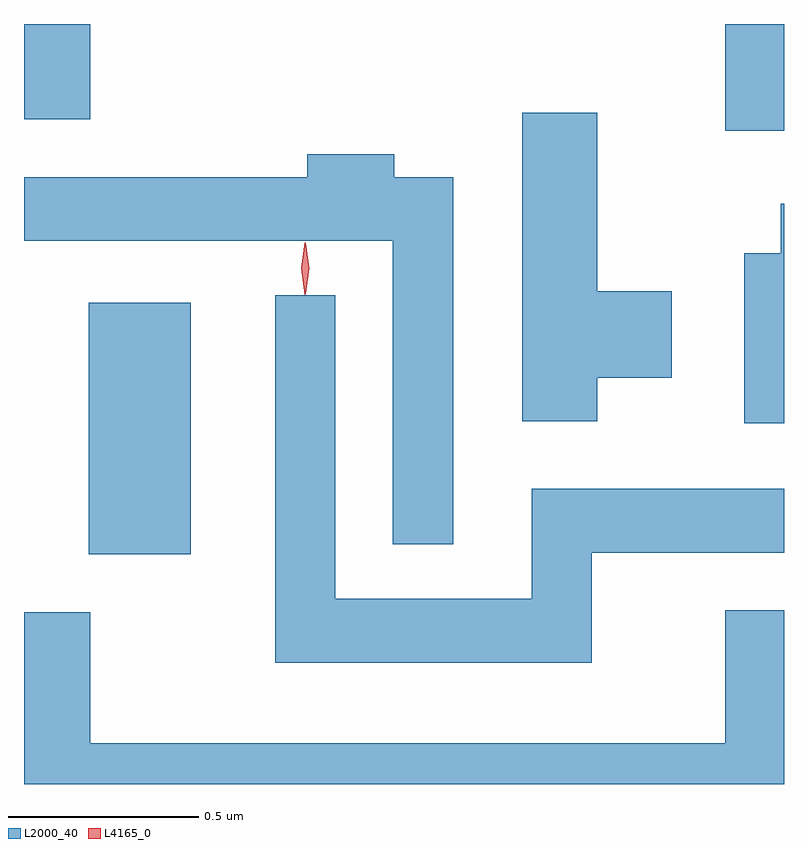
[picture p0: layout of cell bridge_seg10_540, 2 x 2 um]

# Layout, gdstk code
import gdstk
lib = gdstk.Library(unit=1e-6, precision=1e-09)
def R(c, l, rs):  # rectangles x0, y0, x1, y1
    for r in rs: c.add(gdstk.rectangle(r[:2], r[2:], *l))
def P(c, l, *ps):  # polygons
    for p in ps: c.add(gdstk.Polygon(p, *l))
L2000_40 = (2000, 40)
L4165_0 = (4165, 0)

bridge_seg10_540 = lib.new_cell('bridge_seg10_540')
R(bridge_seg10_540, L2000_40, [(903.466,2163.521,903.734,2164.184), (905.141,2164.636,905.295,2164.917), (903.295,2164.666,903.469,2164.917)])
P(bridge_seg10_540, L2000_40, [(904.804,2163.986),(904.999,2163.986),(904.999,2164.214),(904.804,2164.214),(904.804,2164.684),(904.606,2164.684),(904.606,2163.871),(904.804,2163.871)],
  [(904.424,2164.514),(904.269,2164.514),(904.269,2164.574),(904.041,2164.574),(904.041,2164.514),(903.295,2164.514),(903.295,2164.346),(904.266,2164.346),(904.266,2163.548),(904.424,2163.548)],
  [(905.295,2164.444),(905.286,2164.444),(905.286,2164.314),(905.191,2164.314),(905.191,2163.866),(905.295,2163.866)],
  [(904.789,2163.526),(905.295,2163.526),(905.295,2163.694),(904.631,2163.694),(904.631,2163.404),(904.114,2163.404),(904.114,2164.203),(903.956,2164.203),(903.956,2163.236),(904.789,2163.236)],
  [(905.295,2163.374),(905.141,2163.374),(905.141,2163.024),(903.469,2163.024),(903.469,2163.369),(903.295,2163.369),(903.295,2162.917),(905.295,2162.917)])
P(bridge_seg10_540, L4165_0, [(904.034,2164.204),(904.025,2164.274),(904.034,2164.342),(904.035,2164.343),(904.035,2164.342),(904.045,2164.274),(904.035,2164.204),(904.035,2164.204)],
  [(904.034,2164.207),(904.025,2164.274),(904.034,2164.34),(904.035,2164.34),(904.036,2164.34),(904.045,2164.274),(904.036,2164.207),(904.035,2164.207)])

lib.write_gds('bridge_seg10_540.gds')
